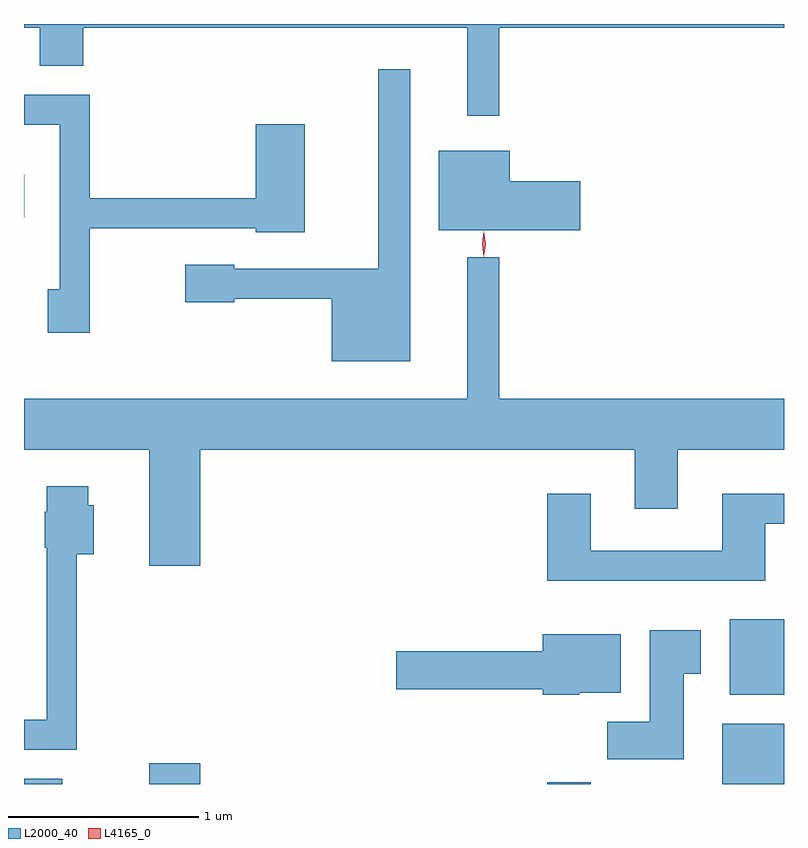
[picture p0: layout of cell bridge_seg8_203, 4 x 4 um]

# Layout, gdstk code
import gdstk
lib = gdstk.Library(unit=1e-6, precision=1e-09)
def R(c, l, rs):  # rectangles x0, y0, x1, y1
    for r in rs: c.add(gdstk.rectangle(r[:2], r[2:], *l))
def P(c, l, *ps):  # polygons
    for p in ps: c.add(gdstk.Polygon(p, *l))
L2000_40 = (2000, 40)
L4165_0 = (4165, 0)

bridge_seg8_203 = lib.new_cell('bridge_seg8_203')
R(bridge_seg8_203, L2000_40, [(1213.417,1903.476,1213.619,1903.504), (1214.076,1903.476,1214.344,1903.584), (1216.171,1903.476,1216.399,1903.484), (1217.091,1903.476,1217.417,1903.794), (1217.131,1903.946,1217.417,1904.344), (1213.417,1906.456,1213.419,1906.684)])
P(bridge_seg8_203, L2000_40, [(1215.919,1907.456),(1217.417,1907.456),(1217.417,1907.476),(1213.417,1907.476),(1213.417,1907.456),(1213.501,1907.456),(1213.501,1907.256),(1213.729,1907.256),(1213.729,1907.456),(1215.751,1907.456),(1215.751,1906.993),(1215.919,1906.993)],
  [(1215.449,1907.238),(1215.281,1907.238),(1215.281,1906.189),(1214.524,1906.189),(1214.524,1906.209),(1214.266,1906.209),(1214.266,1906.011),(1214.524,1906.011),(1214.524,1906.031),(1215.036,1906.031),(1215.036,1905.701),(1215.449,1905.701)],
  [(1213.764,1906.401),(1214.636,1906.401),(1214.636,1906.381),(1214.894,1906.381),(1214.894,1906.949),(1214.636,1906.949),(1214.636,1906.559),(1213.764,1906.559),(1213.764,1907.104),(1213.417,1907.104),(1213.417,1906.946),(1213.606,1906.946),(1213.606,1906.079),(1213.541,1906.079),(1213.541,1905.851),(1213.764,1905.851)],
  [(1216.344,1906.649),(1215.974,1906.649),(1215.974,1906.809),(1215.601,1906.809),(1215.601,1906.391),(1216.344,1906.391)],
  [(1214.344,1905.236),(1216.631,1905.236),(1216.631,1904.926),(1216.859,1904.926),(1216.859,1905.236),(1217.417,1905.236),(1217.417,1905.504),(1215.919,1905.504),(1215.919,1906.248),(1215.751,1906.248),(1215.751,1905.504),(1213.417,1905.504),(1213.417,1905.236),(1214.076,1905.236),(1214.076,1904.626),(1214.344,1904.626)],
  [(1213.694,1904.686),(1213.784,1904.686),(1213.784,1904.944),(1213.754,1904.944),(1213.754,1905.044),(1213.536,1905.044),(1213.536,1904.91),(1213.526,1904.91),(1213.526,1904.72),(1213.536,1904.72),(1213.536,1903.814),(1213.417,1903.814),(1213.417,1903.656),(1213.694,1903.656)],
  [(1217.319,1904.846),(1217.417,1904.846),(1217.417,1905.004),(1217.091,1905.004),(1217.091,1904.704),(1216.399,1904.704),(1216.399,1905.004),(1216.171,1905.004),(1216.171,1904.546),(1217.319,1904.546)],
  [(1216.889,1904.056),(1216.979,1904.056),(1216.979,1904.284),(1216.711,1904.284),(1216.711,1903.804),(1216.486,1903.804),(1216.486,1903.606),(1216.889,1903.606)],
  [(1216.34,1903.956),(1216.559,1903.956),(1216.559,1904.264),(1216.146,1904.264),(1216.146,1904.174),(1215.376,1904.174),(1215.376,1903.976),(1216.146,1903.976),(1216.146,1903.946),(1216.34,1903.946)])
P(bridge_seg8_203, L4165_0, [(1215.837,1906.253),(1215.828,1906.316),(1215.837,1906.379),(1215.838,1906.38),(1215.838,1906.379),(1215.848,1906.316),(1215.838,1906.253),(1215.838,1906.253)],
  [(1215.837,1906.25),(1215.828,1906.318),(1215.837,1906.386),(1215.838,1906.386),(1215.838,1906.386),(1215.848,1906.318),(1215.838,1906.25),(1215.838,1906.25)])

lib.write_gds('bridge_seg8_203.gds')
